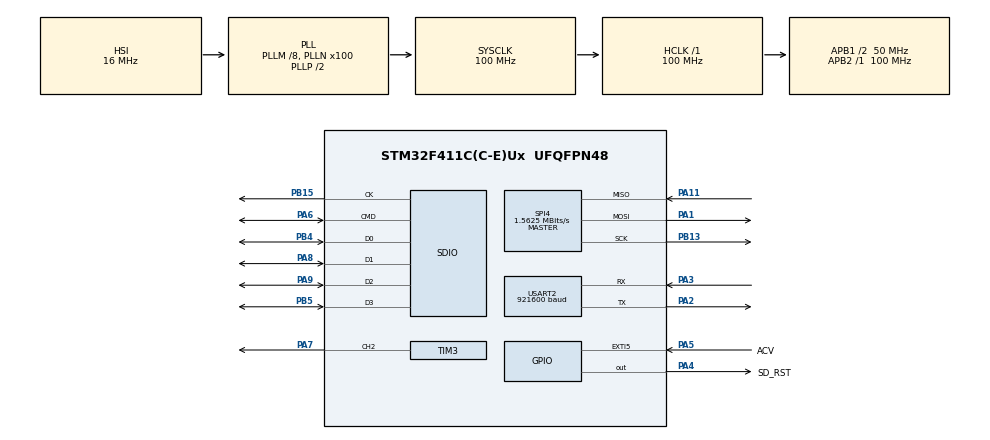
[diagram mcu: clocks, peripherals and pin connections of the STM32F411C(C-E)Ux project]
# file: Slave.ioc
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Dma.Request0=SPI4_RX
Dma.Request1=TIM1_CH1
Dma.Request2=SDIO_RX
Dma.Request3=SDIO_TX
Dma.SDIO_RX.2.Direction=DMA_PERIPH_TO_MEMORY
Dma.SDIO_RX.2.FIFOMode=DMA_FIFOMODE_ENABLE
Dma.SDIO_RX.2.FIFOThreshold=DMA_FIFO_THRESHOLD_FULL
Dma.SDIO_RX.2.Instance=DMA2_Stream3
Dma.SDIO_RX.2.MemBurst=DMA_MBURST_INC4
Dma.SDIO_RX.2.MemDataAlignment=DMA_MDATAALIGN_WORD
Dma.SDIO_RX.2.MemInc=DMA_MINC_ENABLE
Dma.SDIO_RX.2.Mode=DMA_PFCTRL
Dma.SDIO_RX.2.PeriphBurst=DMA_PBURST_INC4
Dma.SDIO_RX.2.PeriphDataAlignment=DMA_PDATAALIGN_WORD
Dma.SDIO_RX.2.PeriphInc=DMA_PINC_DISABLE
Dma.SDIO_RX.2.Priority=DMA_PRIORITY_LOW
Dma.SDIO_TX.3.Direction=DMA_MEMORY_TO_PERIPH
Dma.SDIO_TX.3.FIFOMode=DMA_FIFOMODE_ENABLE
Dma.SDIO_TX.3.FIFOThreshold=DMA_FIFO_THRESHOLD_FULL
Dma.SDIO_TX.3.Instance=DMA2_Stream6
Dma.SDIO_TX.3.MemBurst=DMA_MBURST_INC4
Dma.SDIO_TX.3.MemDataAlignment=DMA_MDATAALIGN_WORD
Dma.SDIO_TX.3.MemInc=DMA_MINC_ENABLE
Dma.SDIO_TX.3.Mode=DMA_PFCTRL
Dma.SDIO_TX.3.PeriphBurst=DMA_PBURST_INC4
Dma.SDIO_TX.3.PeriphDataAlignment=DMA_PDATAALIGN_WORD
Dma.SDIO_TX.3.PeriphInc=DMA_PINC_DISABLE
Dma.SDIO_TX.3.Priority=DMA_PRIORITY_LOW
Dma.SPI4_RX.0.Direction=DMA_PERIPH_TO_MEMORY
Dma.SPI4_RX.0.FIFOMode=DMA_FIFOMODE_DISABLE
Dma.SPI4_RX.0.Instance=DMA2_Stream0
Dma.SPI4_RX.0.MemDataAlignment=DMA_MDATAALIGN_BYTE
Dma.SPI4_RX.0.MemInc=DMA_MINC_ENABLE
Dma.SPI4_RX.0.Mode=DMA_CIRCULAR
Dma.SPI4_RX.0.PeriphDataAlignment=DMA_PDATAALIGN_BYTE
Dma.SPI4_RX.0.PeriphInc=DMA_PINC_DISABLE
Dma.SPI4_RX.0.Priority=DMA_PRIORITY_LOW
Dma.TIM1_CH1.1.Direction=DMA_MEMORY_TO_PERIPH
Dma.TIM1_CH1.1.FIFOMode=DMA_FIFOMODE_DISABLE
Dma.TIM1_CH1.1.Instance=DMA2_Stream1
Dma.TIM1_CH1.1.MemDataAlignment=DMA_MDATAALIGN_BYTE
Dma.TIM1_CH1.1.MemInc=DMA_MINC_ENABLE
Dma.TIM1_CH1.1.Mode=DMA_CIRCULAR
Dma.TIM1_CH1.1.PeriphDataAlignment=DMA_PDATAALIGN_BYTE
Dma.TIM1_CH1.1.PeriphInc=DMA_PINC_DISABLE
Dma.TIM1_CH1.1.Priority=DMA_PRIORITY_LOW
FATFS.USE_DMA_CODE_SD=1
FATFS._MAX_SS=4096
Mcu.Family=STM32F4
Mcu.Name=STM32F411C(C-E)Ux
Mcu.Package=UFQFPN48
NVIC.DMA2_Stream0_IRQn=true\:0\:0\:false\:false\:true\:false\:true\:true
NVIC.DMA2_Stream1_IRQn=true\:0\:0\:false\:false\:true\:false\:true\:true
NVIC.DMA2_Stream3_IRQn=true\:0\:0\:false\:false\:true\:false\:true\:true
NVIC.DMA2_Stream6_IRQn=true\:0\:0\:false\:false\:true\:false\:true\:true
NVIC.EXTI9_5_IRQn=true\:0\:0\:false\:false\:true\:true\:true\:true
NVIC.PriorityGroup=NVIC_PRIORITYGROUP_4
NVIC.SDIO_IRQn=true\:0\:0\:false\:false\:true\:true\:true\:true
PA1.Mode=Full_Duplex_Master
PA1.Signal=SPI4_MOSI
PA11.Mode=Full_Duplex_Master
PA11.Signal=SPI4_MISO
PA2.Mode=Asynchronous
PA2.Signal=USART2_TX
PA3.Mode=Asynchronous
PA3.Signal=USART2_RX
PA4.GPIO_Label=SD_RST
PA4.Signal=GPIO_Output
PA5.GPIO_Label=ACV
PA5.GPIO_ModeDefaultEXTI=GPIO_MODE_IT_RISING_FALLING
PA5.Signal=GPXTI5
PA6.Mode=SD_4_bits_Wide_bus
PA6.Signal=SDIO_CMD
PA7.GPIO_Speed=GPIO_SPEED_FREQ_VERY_HIGH
PA7.Signal=S_TIM3_CH2
PA8.Mode=SD_4_bits_Wide_bus
PA8.Signal=SDIO_D1
PA9.Mode=SD_4_bits_Wide_bus
PA9.Signal=SDIO_D2
PB13.Mode=Full_Duplex_Master
PB13.Signal=SPI4_SCK
PB15.Mode=SD_4_bits_Wide_bus
PB15.Signal=SDIO_CK
PB4.Mode=SD_4_bits_Wide_bus
PB4.Signal=SDIO_D0
PB5.Mode=SD_4_bits_Wide_bus
PB5.Signal=SDIO_D3
ProjectManager.HeapSize=0x200
ProjectManager.StackSize=0x400
ProjectManager.TargetToolchain=STM32CubeIDE
RCC.48MHZClocksFreq_Value=40000000
RCC.AHBFreq_Value=100000000
RCC.APB1CLKDivider=RCC_HCLK_DIV2
RCC.APB1Freq_Value=50000000
RCC.APB1TimFreq_Value=100000000
RCC.APB2Freq_Value=100000000
RCC.APB2TimFreq_Value=100000000
RCC.CortexFreq_Value=100000000
RCC.HCLKFreq_Value=100000000
RCC.HSE_VALUE=25000000
RCC.HSI_VALUE=16000000
RCC.LSE_VALUE=32768
RCC.PLLM=8
RCC.PLLN=100
RCC.PLLQ=5
RCC.SYSCLKFreq_VALUE=100000000
RCC.SYSCLKSource=RCC_SYSCLKSOURCE_PLLCLK
RCC.VCOOutputFreq_Value=200000000
SDIO.ClockDiv=6
SH.S_TIM3_CH2.0=TIM3_CH2,PWM Generation2 CH2
SPI4.BaudRatePrescaler=SPI_BAUDRATEPRESCALER_64
SPI4.CalculateBaudRate=1.5625 MBits/s
SPI4.Direction=SPI_DIRECTION_2LINES
SPI4.Mode=SPI_MODE_MASTER
SPI4.VirtualType=VM_MASTER
TIM1.Channel-Output\ Compare1\ No\ Output=TIM_CHANNEL_1
TIM1.OCMode_1=TIM_OCMODE_ACTIVE
TIM1.Period=PER1B
TIM1.Prescaler=99
TIM1.Pulse-Output\ Compare1\ No\ Output=PULSE1B
TIM2.Prescaler=99
TIM3.Channel-PWM\ Generation1\ No\ Output=TIM_CHANNEL_1
TIM3.Channel-PWM\ Generation2\ CH2=TIM_CHANNEL_2
TIM3.OCPolarity_2=TIM_OCPOLARITY_LOW
TIM3.Period=PER3B
TIM3.Prescaler=99
TIM3.Pulse-PWM\ Generation1\ No\ Output=PULSE3B
TIM3.Pulse-PWM\ Generation2\ CH2=CS3B
TIM3.TIM_MasterOutputTrigger=TIM_TRGO_OC1REF
USART2.BaudRate=921600
USART2.StopBits=STOPBITS_1
USART2.VirtualMode=VM_ASYNC
VP_FATFS_VS_SDIO.Mode=SDIO
VP_TIM1_VS_ClockSourceINT.Mode=Internal
VP_TIM1_VS_ClockSourceITR.Mode=TriggerSource_ITR2
VP_TIM1_VS_ControllerModeGated.Mode=Gated Mode
VP_TIM1_VS_no_output1.Mode=Output Compare1 No Output
VP_TIM2_VS_ClockSourceINT.Mode=Internal
VP_TIM3_VS_ClockSourceINT.Mode=Internal
VP_TIM3_VS_no_output1.Mode=PWM Generation1 No Output
board=custom

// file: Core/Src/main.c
/* USER CODE BEGIN Header */
/**
  ******************************************************************************
  * @file           : main.c
  * @brief          : Main program body
  ******************************************************************************
  * @attention
  *
  * Copyright (c) 2023 STMicroelectronics.
  * All rights reserved.
  *
  * This software is licensed under terms that can be found in the LICENSE file
  * in the root directory of this software component.
  * If no LICENSE file comes with this software, it is provided AS-IS.
  *
  ******************************************************************************
  */
/* USER CODE END Header */
#include "main.h"
#include "dma.h"
#include "fatfs.h"
#include "sdio.h"
#include "spi.h"
#include "tim.h"
#include "usart.h"
#include "gpio.h"

/* USER CODE BEGIN Includes */
#include "SD_FATFS.h"
#include <stdio.h>
#include "mcp3208.h"

/* USER CODE END Includes */

/* USER CODE BEGIN PD */
#define TIMEDEBUG
/* USER CODE END PD */

/* USER CODE BEGIN PV */
//Sampling   Ts=55us
//Ts->3 byte
//T1byte=Ts/3
//2040*55/3=37400
//180000 *3/2040
//Ts=264

//while loop

volatile uint8_t ACV=0;
uint8_t  convnumber=0;

//DMA
extern uint8_t databuf[BUFLEN];
extern SPI_HandleTypeDef hspi4;
extern DMA_HandleTypeDef hdma_spi4_rx;
extern DMA_HandleTypeDef hdma_tim1_ch1;
volatile uint8_t firstconversion=0;
volatile uint8_t secondconversion = 0;
volatile uint16_t adcdata[CHAN];
//SD

extern struct SD_Iterface SD;

char myfilename[]="DATA.txt";
uint8_t savestart=1;
uint8_t savestop=0;
//time Debug
volatile uint32_t thalfread1,thalfread2,dmaArraytime;
uint32_t tsaveSD1,tsaveSD2;
uint32_t tconver1,tconver2;

/* USER CODE END PV */

void SystemClock_Config(void);
/* USER CODE BEGIN PFP */
void XferHCplt(DMA_HandleTypeDef *hdma);
void Farray(DMA_HandleTypeDef *hdma);
void Sarray(DMA_HandleTypeDef *hdma);
/* USER CODE END PFP */

/* USER CODE BEGIN 0 */
void conversion(uint8_t Whalf){

//16320
	if(Whalf==1){
		for( uint16_t i=0;i<BUFLEN/12;i++){
			SD.buffer1[3*i]='s';
			SD.buffer1[3*i+1]=databuf[3*i+1];
			SD.buffer1[3*i+2]=databuf[3*i+2];
		}
		for(uint16_t i=0;i<BUFLEN/12;i++){

			SD.buffer2[3*i]='s';
			SD.buffer2[3*i+1]=databuf[3*i+1+BUFLEN/4];
			SD.buffer2[3*i+2]=databuf[3*i+2+BUFLEN/4];

		}
	}
	else{
		for( uint16_t i=0;i<BUFLEN/12;i++){
			SD.buffer3[3*i]='s';
			SD.buffer3[3*i+1]=databuf[3*i+1+BUFLEN/2];
			SD.buffer3[3*i+2]=databuf[3*i+2+BUFLEN/2];

		}
		for( uint16_t i=0;i<BUFLEN/12;i++){
			SD.buffer4[3*i]='s';
			SD.buffer4[3*i+1]=databuf[3*i+1+BUFLEN/2+BUFLEN/4];
			SD.buffer4[3*i+2]=databuf[3*i+2+BUFLEN/2+BUFLEN/4];

		}

	}

}

/* USER CODE END 0 */

int main(void)
{

  /* MCU Configuration--------------------------------------------------------*/

  /* Reset of all peripherals, Initializes the Flash interface and the Systick. */
  HAL_Init();

  /* Configure the system clock */
  SystemClock_Config();

  /* Initialize all configured peripherals */
  MX_GPIO_Init();
  MX_DMA_Init();
  MX_SPI4_Init();
  MX_TIM1_Init();
  MX_TIM3_Init();
  MX_SDIO_SD_Init();
  MX_FATFS_Init();
  MX_TIM2_Init();
  MX_USART2_UART_Init();
  /* USER CODE BEGIN 2 */
  mountSDcard();
  HAL_TIM_Base_Start(&htim2);
  hdma_tim1_ch1.XferHalfCpltCallback=XferHCplt;

  InitMCP3208(hspi4, htim1, TIM_CHANNEL_1,htim3, TIM_CHANNEL_1, TIM_CHANNEL_2);
  hdma_spi4_rx.XferHalfCpltCallback=Farray;
    hdma_spi4_rx.XferCpltCallback=Sarray;
  /* USER CODE END 2 */

  /* Infinite loop */
  /* USER CODE BEGIN WHILE */
  while (1)
  {

	  if(firstconversion){
		  conversion( 1);
		  firstconversion=0;
	  }
	  if(secondconversion){

		  conversion( 2);

#ifdef TIMEDEBUG
		  tsaveSD1=TIM2->CNT;
#endif
		  if(ACV==1){
			  if(savestart){
				  openFile(myfilename, FA_OPEN_APPEND | FA_WRITE | FA_READ);
				  savestart=0;
				  savestop=1;
			  }
			  writeDataPacked(myfilename, FA_OPEN_APPEND | FA_WRITE | FA_READ);
			  HAL_UART_Transmit(&huart2,(uint8_t *)SD.buffer1 , BUFLEN/4, 10);
			  HAL_UART_Transmit(&huart2,(uint8_t *)SD.buffer2 , BUFLEN/4, 10);
			  HAL_UART_Transmit(&huart2,(uint8_t *)SD.buffer3 , BUFLEN/4, 10);
			  HAL_UART_Transmit(&huart2,(uint8_t *)SD.buffer4, BUFLEN/4, 10);
		    }
		  if(ACV==0 && savestop==1){
			  savestart=1;
			  savestop=0;
			  closeFile();
		  }
		  if(SD.fresult!=FR_OK){
			  HAL_GPIO_WritePin(SD_RST_GPIO_Port,SD_RST_Pin,GPIO_PIN_SET);

		  }

#ifdef TIMEDEBUG
		  tsaveSD2=TIM2->CNT-tsaveSD1;
#endif

	  	secondconversion=0;

	  }

    /* USER CODE END WHILE */

  }
}

void SystemClock_Config(void)
{
  RCC_OscInitTypeDef RCC_OscInitStruct = {0};
  RCC_ClkInitTypeDef RCC_ClkInitStruct = {0};

  /** Configure the main internal regulator output voltage
  */
  __HAL_RCC_PWR_CLK_ENABLE();
  __HAL_PWR_VOLTAGESCALING_CONFIG(PWR_REGULATOR_VOLTAGE_SCALE1);

  /** Initializes the RCC Oscillators according to the specified parameters
  * in the RCC_OscInitTypeDef structure.
  */
  RCC_OscInitStruct.OscillatorType = RCC_OSCILLATORTYPE_HSI;
  RCC_OscInitStruct.HSIState = RCC_HSI_ON;
  RCC_OscInitStruct.HSICalibrationValue = RCC_HSICALIBRATION_DEFAULT;
  RCC_OscInitStruct.PLL.PLLState = RCC_PLL_ON;
  RCC_OscInitStruct.PLL.PLLSource = RCC_PLLSOURCE_HSI;
  RCC_OscInitStruct.PLL.PLLM = 8;
  RCC_OscInitStruct.PLL.PLLN = 100;
  RCC_OscInitStruct.PLL.PLLP = RCC_PLLP_DIV2;
  RCC_OscInitStruct.PLL.PLLQ = 5;
  if (HAL_RCC_OscConfig(&RCC_OscInitStruct) != HAL_OK)
  {
    Error_Handler();
  }

  /** Initializes the CPU, AHB and APB buses clocks
  */
  RCC_ClkInitStruct.ClockType = RCC_CLOCKTYPE_HCLK|RCC_CLOCKTYPE_SYSCLK
                              |RCC_CLOCKTYPE_PCLK1|RCC_CLOCKTYPE_PCLK2;
  RCC_ClkInitStruct.SYSCLKSource = RCC_SYSCLKSOURCE_PLLCLK;
  RCC_ClkInitStruct.AHBCLKDivider = RCC_SYSCLK_DIV1;
  RCC_ClkInitStruct.APB1CLKDivider = RCC_HCLK_DIV2;
  RCC_ClkInitStruct.APB2CLKDivider = RCC_HCLK_DIV1;

  if (HAL_RCC_ClockConfig(&RCC_ClkInitStruct, FLASH_LATENCY_3) != HAL_OK)
  {
    Error_Handler();
  }
}

/* USER CODE BEGIN 4 */

void XferHCplt(DMA_HandleTypeDef *hdma) {
	 adcdata[0]=databuf[2] | (((uint16_t) (databuf[1] & 0x0f)) << 8);
	 adcdata[1]=databuf[5] | (((uint16_t) (databuf[4] & 0x0f)) << 8);
	 adcdata[2]=databuf[8] | (((uint16_t) (databuf[7] & 0x0f)) << 8);
	 adcdata[3]=databuf[11] | (((uint16_t) (databuf[10] & 0x0f)) << 8);
	 adcdata[4]=databuf[14] | (((uint16_t) (databuf[13] & 0x0f)) << 8);
	 adcdata[5]=databuf[17] | (((uint16_t) (databuf[16] & 0x0f)) << 8);
	 adcdata[6]=databuf[20] | (((uint16_t) (databuf[19] & 0x0f)) << 8);
	 adcdata[7]=databuf[23] | (((uint16_t) (databuf[22] & 0x0f)) << 8);

}

void Farray(DMA_HandleTypeDef *hdma) {
	firstconversion=1;
#ifdef TIMEDEBUG
	thalfread1=TIM2->CNT;
#endif
}

void Sarray(DMA_HandleTypeDef *hdma) {
	secondconversion = 1;
#ifdef TIMEDEBUG
	thalfread2=TIM2->CNT-thalfread1;
	dmaArraytime=thalfread2*2;
#endif
}

void HAL_GPIO_EXTI_Callback(uint16_t GPIO_Pin){

	if(GPIO_Pin==ACV_Pin){
		if(HAL_GPIO_ReadPin(ACV_GPIO_Port, ACV_Pin)){
			ACV=1;
		}
		else{
			ACV=0;
		}

	}

}

/* USER CODE END 4 */

void Error_Handler(void)
{
  __disable_irq();
  while (1)
  {
  }
}
